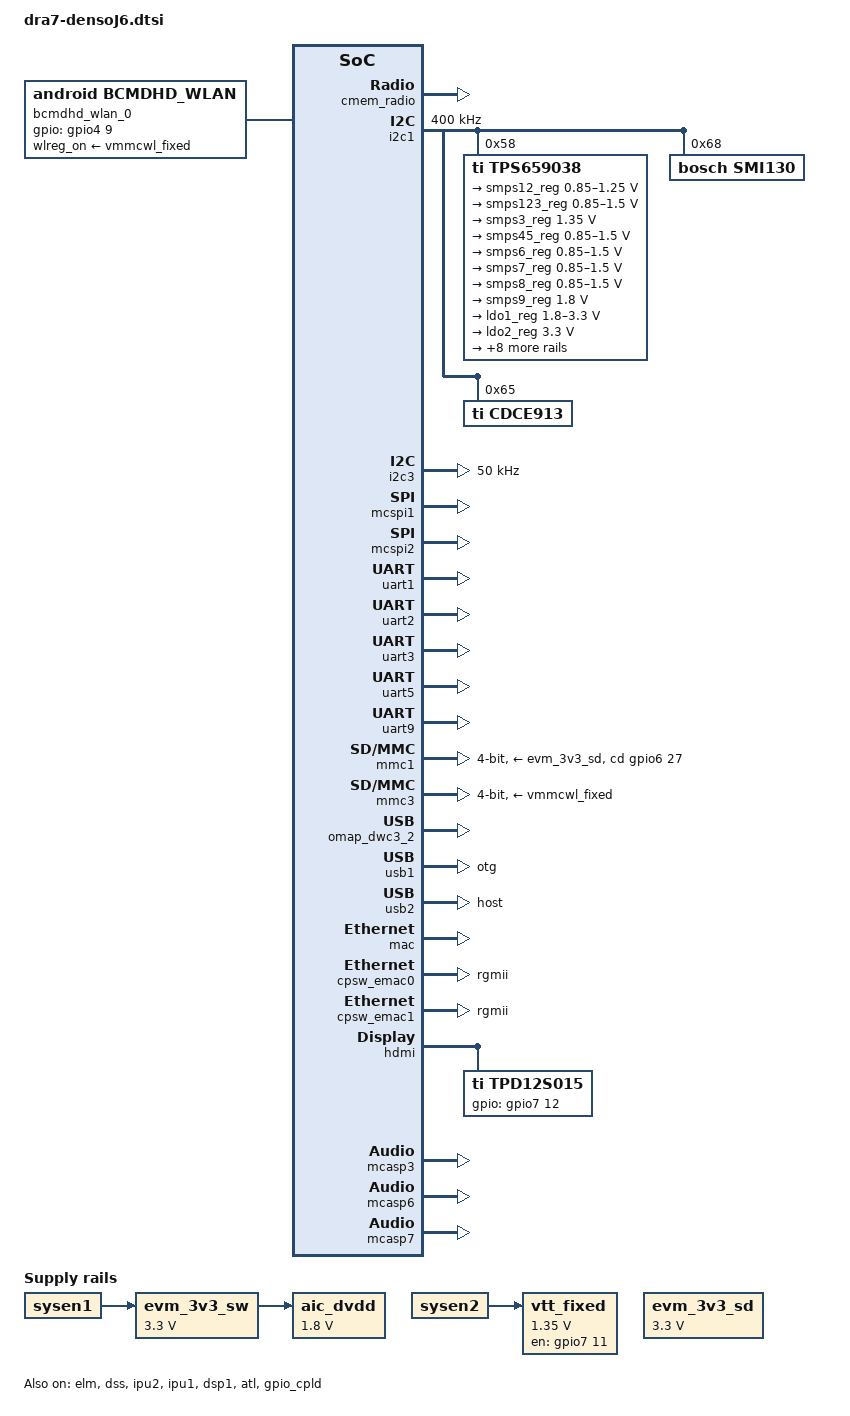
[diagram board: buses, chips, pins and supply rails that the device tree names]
/*
 * Copyright (C) 2013 Texas Instruments Incorporated - http://www.ti.com/
 *
 * This program is free software; you can redistribute it and/or modify
 * it under the terms of the GNU General Public License version 2 as
 * published by the Free Software Foundation.
 */
/ {

	reserved_mem: reserved-memory {
		#address-cells = <2>;
		#size-cells = <2>;
		ranges;

		cmem_radio: cmem@95400000 {
			reg = <0x0 0x95400000 0x0 0x400000>;
			no-map;
			status = "okay";
		};

		ipu2_cma_pool: ipu2_cma@95800000 {
			compatible = "shared-dma-pool";
			reg = <0x0 0x95800000 0x0 0x3800000>;
			reusable;
			status = "okay";
		};

		dsp1_cma_pool: dsp1_cma@99000000 {
			compatible = "shared-dma-pool";
			reg = <0x0 0x99000000 0x0 0x4000000>;
			reusable;
			status = "okay";
		};

		ipu1_cma_pool: ipu1_cma@9d000000 {
			compatible = "shared-dma-pool";
			reg = <0x0 0x9d000000 0x0 0x1c00000>;
			reusable;
			status = "okay";
		};

		ipu1_mmu_pagetable: ipu1_pagetable@9eff8000 {
			reg = <0x0 0x9eff8000 0x0 0x8000>;
			status = "okay";
		};

		pstore_ram_area: pstore_ram@9f000000 {
			reg = <0x0 0x9f000000 0x0 0x100000>;
			status = "okay";
		};
	};

	ramoops {
		memory-region = <&pstore_ram_area>;
		ramoops_record_size  = <0x20000>;
		ramoops_console_size = <0x20000>;
		ramoops_pmsg_size    = <0xc0000>;
	};

	gpio_cpld: denso-cpld-gpio@0c000000 {
		compatible = "denso,densoj6-cpld-gpio";
		reg = <0x0 0x0c000000 0x0 0x4000>;
		host_irq-gpio = <&gpio2 31 0>;
		interrupts = <0 28 0x04>;
		interrupt-parent = <&gpio2>;
		gpio-controller;
		#gpio-cells = <2>;
		interrupt-controller;
		#interrupt-cells = <2>;
		status = "okay";
	};

	config-on-boot {
		output-gpios = <
				&gpio_cpld 14 0	/* power on LVDS */
				&gpio_cpld 10 0	/* backlight on */
				&gpio_cpld 8 0	/* select NTSC video in */
				>;
		output-gpio-values = <
				1		/* 1 power on LVDS */
				1		/* 1 backlight on */
				0		/* 0 select NTSC video in */
				>;
	};

	extcon1: dra7x_usbid_extcon1 {
		compatible = "linux,extcon-usb-dummy";
	};

	evm_3v3_sd: fixedregulator-sd {
		compatible = "regulator-fixed";
		regulator-name = "evm_3v3_sd";
		regulator-min-microvolt = <3300000>;
		regulator-max-microvolt = <3300000>;
		enable-active-high;
	};

	evm_3v3_sw: fixedregulator-evm_3v3_sw {
		compatible = "regulator-fixed";
		regulator-name = "evm_3v3_sw";
		vin-supply = <&sysen1>;
		regulator-min-microvolt = <3300000>;
		regulator-max-microvolt = <3300000>;
	};

	aic_dvdd: fixedregulator-aic_dvdd {
		/* TPS77018DBVT */
		compatible = "regulator-fixed";
		regulator-name = "aic_dvdd";
		vin-supply = <&evm_3v3_sw>;
		regulator-min-microvolt = <1800000>;
		regulator-max-microvolt = <1800000>;
	};

	vtt_fixed: fixedregulator-vtt {
		compatible = "regulator-fixed";
		regulator-name = "vtt_fixed";
		regulator-min-microvolt = <1350000>;
		regulator-max-microvolt = <1350000>;
		regulator-always-on;
		regulator-boot-on;
		enable-active-high;
		vin-supply = <&sysen2>;
		gpio = <&gpio7 11 GPIO_ACTIVE_HIGH>;
	};

	bcmdhd_wlan_0: bcmdhd_wlan@0 {
		compatible = "android,bcmdhd_wlan";
		gpios = <&gpio4 9 0>; /* gpio4_9 - WL_HOST_WAKE */
		wlreg_on-supply = <&vmmcwl_fixed>;
	};

	earlycam_config {
		compatible = "ti,earlycam_mpu";
	};

	ocp {
		gpu: gpu@0x56000000 {
			gpu0-voltdm = <&voltdm_gpu>;
		};
	};

        simple_adv7611_hdmi_card: adv7611_hdmi_card {
                compatible = "simple-audio-card";
                simple-audio-card,name = "ADV7611 HDMI";
                simple-audio-card,frame-master = <&adv7611_codec>;
                simple-audio-card,bitclock-master = <&adv7611_codec>;
                simple-audio-card,format = "i2s";

                simple-audio-card,cpu {
                        sound-dai = <&mcasp6>;
                };

                adv7611_codec: simple-audio-card,codec {
                        codec-dai-name = "adv7611-dai";
                        codec-name = "adv7611-asoc-codec";
                };
        };
};

&dra7_pmx_core {
	pinctrl-names = "default";
	/* NTSC camera pins BASE address: 0x4A00 3400*/
	/* For HDMI receiver adv7611 */
	vin4a_pins: pinmux_vin4a_pins {
		pinctrl-single,pins = <
			0x1D0 0x00040003 /* CTRL_CORE_PAD_VOUT1_FLD    0x4A0035D0 0x3: vin4a_clk0*/
			0x288 0x00040008 /* CTRL_CORE_PAD_GPIO6_14     0x4A003688 0x8: vin4a_hysnc0*/
			0x28C 0x00040008 /* CTRL_CORE_PAD_GPIO6_15     0x4A00368C 0x8: vin4a_vysnc0*/
			0x2A0 0x00040008 /* CTRL_CORE_PAD_XREF_CLK3    0x4A0036A0 0x8: vin4a_de0*/

			0x2AC 0x00040008 /* CTRL_CORE_PAD_MCASP1_ACLKR 0x4A0036AC 0x8: vin4a_d0*/
			0x2B0 0x00040008 /* CTRL_CORE_PAD_MCASP1_FSR   0x4A0036B0 0x8: vin4a_d1*/
			0x2BC 0x00040008 /* CTRL_CORE_PAD_MCASP1_AXR2  0x4A0036BC 0x8: vin4a_d2*/
			0x2C0 0x00040008 /* CTRL_CORE_PAD_MCASP1_AXR3  0x4A0036C0 0x8: vin4a_d3*/
			0x2C4 0x00040008 /* CTRL_CORE_PAD_MCASP1_AXR4  0x4A0036C4 0x8: vin4a_d4*/
			0x2C8 0x00040008 /* CTRL_CORE_PAD_MCASP1_AXR5  0x4A0036C8 0x8: vin4a_d5*/
			0x2CC 0x00040008 /* CTRL_CORE_PAD_MCASP1_AXR6  0x4A0036CC 0x8: vin4a_d6*/
			0x2D0 0x00040008 /* CTRL_CORE_PAD_MCASP1_AXR7  0x4A0036D0 0x8: vin4a_d7*/

			0x2FC 0x00040008 /* CTRL_CORE_PAD_MCASP2_ACLKR 0x4A0036FC 0x8: vin4a_d8*/
			0x300 0x00040008 /* CTRL_CORE_PAD_MCASP2_FSR   0x4A003700 0x8: vin4a_d9*/
			0x304 0x00040008 /* CTRL_CORE_PAD_MCASP2_AXR0  0x4A003704 0x8: vin4a_d10*/
			0x308 0x00040008 /* CTRL_CORE_PAD_MCASP2_AXR1  0x4A003708 0x8: vin4a_d11*/
			0x314 0x00040008 /* CTRL_CORE_PAD_MCASP2_AXR4  0x4A003714 0x8: vin4a_d12*/
			0x318 0x00040008 /* CTRL_CORE_PAD_MCASP2_AXR5  0x4A003718 0x8: vin4a_d13*/
			0x31C 0x00040008 /* CTRL_CORE_PAD_MCASP2_AXR6  0x4A00371C 0x8: vin4a_d14*/
			0x320 0x00040008 /* CTRL_CORE_PAD_MCASP2_AXR7  0x4A003720 0x8: vin4a_d15*/

			0x334 0x00040008 /* CTRL_CORE_PAD_MCASP4_ACLKX 0x4A003734 0x8: vin4a_d16*/
			0x338 0x00040008 /* CTRL_CORE_PAD_MCASP4_FSX   0x4A003738 0x8: vin4a_d17*/
			0x33C 0x00040008 /* CTRL_CORE_PAD_MCASP4_AXR0  0x4A00373C 0x8: vin4a_d18*/
			0x340 0x00040008 /* CTRL_CORE_PAD_MCASP4_AXR1  0x4A003740 0x8: vin4a_d19*/
			0x344 0x00040008 /* CTRL_CORE_PAD_MCASP5_ACLKX 0x4A003744 0x8: vin4a_d20*/
			0x348 0x00040008 /* CTRL_CORE_PAD_MCASP5_FSX   0x4A003748 0x8: vin4a_d21*/
			0x34C 0x00040008 /* CTRL_CORE_PAD_MCASP5_AXR0  0x4A00374C 0x8: vin4a_d22*/
			0x350 0x00040008 /* CTRL_CORE_PAD_MCASP5_AXR1  0x4A003750 0x8: vin4a_d23*/
		>;
	};

	/* NTSC camera pins BASE address: 0x4A00 3400*/
	/* For HDMI receiver adv7611 Audio */
	mcasp6_pins: pinmux_mcasp6_pins {
		pinctrl-single,pins = <
			0x2D8 0x00040001 /* CTRL_CORE_PAD_MCASP1_AXR9    0x4A0036D8 0x1: mcasp6_axr1*/
			0x2DC 0x00040002 /* CTRL_CORE_PAD_MCASP1_AXR10   0x4A0036DC 0x2: mcasp6_aclkr*/
			0x2E0 0x00040002 /* CTRL_CORE_PAD_MCASP1_AXR11   0x4A0036E0 0x2: mcasp6_fsr*/
		>;
	};

	i2c1_pins: pinmux_i2c1_pins {
		pinctrl-single,pins = <
			0x400 (PIN_INPUT | MUX_MODE0) /* i2c1_sda */
			0x404 (PIN_INPUT | MUX_MODE0) /* i2c1_scl */
		>;
	};

	bt_uart3_pins: pinmux_uart3_pins {
		pinctrl-single,pins = <
			0x3c0 (PIN_INPUT_PULLUP | MUX_MODE1)	/* spi2_sclk.uart3_rxd */
			0x3c4 (PIN_OUTPUT | MUX_MODE1)	/* spi2_d1.uart3_txd */
			0x3c8 (PIN_INPUT_PULLUP | MUX_MODE1)		/* spi2.d0.uart3_ctsn */
			0x3cc (PIN_OUTPUT | MUX_MODE1)	/* spi2_cs0.uart3_rtsn */
			0x184 (PIN_OUTPUT_PULLUP | MUX_MODE14) 	/* vin2a_d7.gpio4_8 - PWR_ON_BT_Wifi */
		>;
	};

	usb1_pins: pinmux_usb1_pins {
                pinctrl-single,pins = <
			0x280 (PIN_INPUT_SLEW | MUX_MODE0) /* usb1_drvvbus */
                >;
        };

	/*usb2_pins: pinmux_usb2_pins {
                pinctrl-single,pins = <
			0x284 (PIN_OUTPUT_PULLUP | MUX_MODE14) // usb2_drvvbus
                >;
        };
	*/

	cpsw_default: cpsw_default {
		pinctrl-single,pins = <
			/* Slave 2 */
			0x198 (PIN_OUTPUT | MUX_MODE3)	/* rgmii2_tclk */
			0x19c (PIN_OUTPUT | MUX_MODE3)	/* rgmii2_tctl */
			0x1a0 (PIN_OUTPUT | MUX_MODE3)	/* rgmii2_td3 */
			0x1a4 (PIN_OUTPUT | MUX_MODE3)	/* rgmii2_td2 */
			0x1a8 (PIN_OUTPUT | MUX_MODE3)	/* rgmii2_td1 */
			0x1ac (PIN_OUTPUT | MUX_MODE3)	/* rgmii2_td0 */
			0x1b0 (PIN_INPUT | MUX_MODE3)	/* rgmii2_rclk */
			0x1b4 (PIN_INPUT | MUX_MODE3)	/* rgmii2_rctl */
			0x1b8 (PIN_INPUT | MUX_MODE3)	/* rgmii2_rd3 */
			0x1bc (PIN_INPUT | MUX_MODE3)	/* rgmii2_rd2 */
			0x1c0 (PIN_INPUT | MUX_MODE3)	/* rgmii2_rd1 */
			0x1c4 (PIN_INPUT | MUX_MODE3)	/* rgmii2_rd0 */
		>;

	};

	cpsw_sleep: cpsw_sleep {
		pinctrl-single,pins = <
			/* Slave 2 */
			0x198 (PIN_OFF_NONE)
			0x19c (PIN_OFF_NONE)
			0x1a0 (PIN_OFF_NONE)
			0x1a4 (PIN_OFF_NONE)
			0x1a8 (PIN_OFF_NONE)
			0x1ac (PIN_OFF_NONE)
			0x1b0 (PIN_OFF_NONE)
			0x1b4 (PIN_OFF_NONE)
			0x1b8 (PIN_OFF_NONE)
			0x1bc (PIN_OFF_NONE)
			0x1c0 (PIN_OFF_NONE)
			0x1c4 (PIN_OFF_NONE)
		>;
	};

	davinci_mdio_default: davinci_mdio_default {
		pinctrl-single,pins = <
			/* MDIO */
			0x190 (PIN_OUTPUT_PULLUP | MUX_MODE3)	/* mdio_data */
			0x194 (PIN_INPUT | MUX_MODE3)	/* mdio_clk */
		>;
	};

	davinci_mdio_sleep: davinci_mdio_sleep {
		pinctrl-single,pins = <
			0x190 (PIN_OFF_NONE)
			0x194 (PIN_OFF_NONE)
		>;
	};

	mcspi1_pins: pinmux_mcspi1_pins {
		pinctrl-single,pins = <
			0x3a4 (PIN_INPUT | MUX_MODE0) /* spi1_sclk */
			0x3a8 (PIN_INPUT | MUX_MODE0) /* spi1_d1 */
			0x3ac (PIN_INPUT | MUX_MODE0) /* spi1_d0 */
			0x3b0 (PIN_INPUT_SLEW | MUX_MODE0) /* spi1_cs0 */
			0x3b8 (INPUT_EN | PULL_UP | PULL_DIS | MUX_MODE14) /* spi1_cs2.hdmi1_hpd */
			0x3bc (INPUT_EN | PULL_UP | PULL_DIS | MUX_MODE14) /* spi1_cs3.hdmi1_cec */
		>;
	};

	vout1_pins: pinmux_vout1_pins {
		pinctrl-single,pins = <
			0x1C8	(PIN_OUTPUT | MUX_MODE0)	/* vout1_clk */
			0x1CC	(PIN_OUTPUT | MUX_MODE0)	/* vout1_de */
			/*0x1D0	(PIN_OUTPUT | MUX_MODE0)*/	/* vout1_fld */
			0x1D4	(PIN_OUTPUT | MUX_MODE0)	/* vout1_hsync */
			0x1D8	(PIN_OUTPUT | MUX_MODE0)	/* vout1_vsync */
			0x1DC	(PIN_OUTPUT | MUX_MODE0)	/* vout1_d0 */
			0x1E0	(PIN_OUTPUT | MUX_MODE0)	/* vout1_d1 */
			0x1E4	(PIN_OUTPUT | MUX_MODE0)	/* vout1_d2 */
			0x1E8	(PIN_OUTPUT | MUX_MODE0)	/* vout1_d3 */
			0x1EC	(PIN_OUTPUT | MUX_MODE0)	/* vout1_d4 */
			0x1F0	(PIN_OUTPUT | MUX_MODE0)	/* vout1_d5 */
			0x1F4	(PIN_OUTPUT | MUX_MODE0)	/* vout1_d6 */
			0x1F8	(PIN_OUTPUT | MUX_MODE0)	/* vout1_d7 */
			0x1FC	(PIN_OUTPUT | MUX_MODE0)	/* vout1_d8 */
			0x200	(PIN_OUTPUT | MUX_MODE0)	/* vout1_d9 */
			0x204	(PIN_OUTPUT | MUX_MODE0)	/* vout1_d10 */
			0x208	(PIN_OUTPUT | MUX_MODE0)	/* vout1_d11 */
			0x20C	(PIN_OUTPUT | MUX_MODE0)	/* vout1_d12 */
			0x210	(PIN_OUTPUT | MUX_MODE0)	/* vout1_d13 */
			0x214	(PIN_OUTPUT | MUX_MODE0)	/* vout1_d14 */
			0x218	(PIN_OUTPUT | MUX_MODE0)	/* vout1_d15 */
			0x21C	(PIN_OUTPUT | MUX_MODE0)	/* vout1_d16 */
			0x220	(PIN_OUTPUT | MUX_MODE0)	/* vout1_d17 */
			0x224	(PIN_OUTPUT | MUX_MODE0)	/* vout1_d18 */
			0x228	(PIN_OUTPUT | MUX_MODE0)	/* vout1_d19 */
			0x22C	(PIN_OUTPUT | MUX_MODE0)	/* vout1_d20 */
			0x230	(PIN_OUTPUT | MUX_MODE0)	/* vout1_d21 */
			0x234	(PIN_OUTPUT | MUX_MODE0)	/* vout1_d22 */
			0x238	(PIN_OUTPUT | MUX_MODE0)	/* vout1_d23 */
		>;
	};

	atl_pins: pinmux_atl_pins {
		pinctrl-single,pins = <
			0x29c (PIN_OUTPUT | MUX_MODE5)	/* xref_clk2.atl_clk2 */
		>;
	};

	tsc_pins: pinmux_tsc_pins {
		pinctrl-single,pins = <
			0x420 (PIN_INPUT_PULLDOWN | MUX_MODE14) /* gpio1_2 */
		>;
	};

	mmc1_pins_default: pinmux_mmc1_default_pins {
		pinctrl-single,pins = <
			0x354 (PIN_INPUT_PULLUP | MUX_MODE0)    /* mmc1_clk.clk */
			0x358 (PIN_INPUT_PULLUP | MUX_MODE0)    /* mmc1_cmd.cmd */
			0x35c (PIN_INPUT_PULLUP | MUX_MODE0)    /* mmc1_dat0.dat0 */
			0x360 (PIN_INPUT_PULLUP | MUX_MODE0)    /* mmc1_dat1.dat1 */
			0x364 (PIN_INPUT_PULLUP | MUX_MODE0)    /* mmc1_dat2.dat2 */
			0x368 (PIN_INPUT_PULLUP | MUX_MODE0)    /* mmc1_dat3.dat3 */
			0x36c (PIN_INPUT | MUX_MODE14)          /* mmc1sdcd.gpio187 */
		>;
	};

	mmc1_pins_hs: pinmux_mmc1_hs_pins {
		pinctrl-single,pins = <
			0x354 (PIN_INPUT_PULLUP | MUX_VIRTUAL_MODE11 | MUX_MODE0)       /* mmc1_clk.clk */
			0x358 (PIN_INPUT_PULLUP | MUX_VIRTUAL_MODE11 | MUX_MODE0)       /* mmc1_cmd.cmd */
			0x35c (PIN_INPUT_PULLUP | MUX_VIRTUAL_MODE11 | MUX_MODE0)       /* mmc1_dat0.dat0 */
			0x360 (PIN_INPUT_PULLUP | MUX_VIRTUAL_MODE11 | MUX_MODE0)       /* mmc1_dat1.dat1 */
			0x364 (PIN_INPUT_PULLUP | MUX_VIRTUAL_MODE11 | MUX_MODE0)       /* mmc1_dat2.dat2 */
			0x368 (PIN_INPUT_PULLUP | MUX_VIRTUAL_MODE11 | MUX_MODE0)       /* mmc1_dat3.dat3 */
		>;
	};

	mmc2_pins_default: mmc2_pins_default {
		pinctrl-single,pins = <
			0x9c (PIN_INPUT_PULLUP | MUX_MODE1) /* gpmc_a23.mmc2_clk */
			0xb0 (PIN_INPUT_PULLUP | MUX_MODE1) /* gpmc_cs1.mmc2_cmd */
			0xa0 (PIN_INPUT_PULLUP | MUX_MODE1) /* gpmc_a24.mmc2_dat0 */
			0xa4 (PIN_INPUT_PULLUP | MUX_MODE1) /* gpmc_a25.mmc2_dat1 */
			0xa8 (PIN_INPUT_PULLUP | MUX_MODE1) /* gpmc_a26.mmc2_dat2 */
			0xac (PIN_INPUT_PULLUP | MUX_MODE1) /* gpmc_a27.mmc2_dat3 */
			0x8c (PIN_INPUT_PULLUP | MUX_MODE1) /* gpmc_a19.mmc2_dat4 */
			0x90 (PIN_INPUT_PULLUP | MUX_MODE1) /* gpmc_a20.mmc2_dat5 */
			0x94 (PIN_INPUT_PULLUP | MUX_MODE1) /* gpmc_a21.mmc2_dat6 */
			0x98 (PIN_INPUT_PULLUP | MUX_MODE1) /* gpmc_a22.mmc2_dat7 */
		>;
	};

	mmc2_pins_hs: pinmux_mmc2_hs_pins {
		pinctrl-single,pins = <
			0x9c (PIN_INPUT_PULLUP | MUX_MODE1) /* gpmc_a23.mmc2_clk */
			0xb0 (PIN_INPUT_PULLUP | MUX_MODE1) /* gpmc_cs1.mmc2_cmd */
			0xa0 (PIN_INPUT_PULLUP | MUX_MODE1) /* gpmc_a24.mmc2_dat0 */
			0xa4 (PIN_INPUT_PULLUP | MUX_MODE1) /* gpmc_a25.mmc2_dat1 */
			0xa8 (PIN_INPUT_PULLUP | MUX_MODE1) /* gpmc_a26.mmc2_dat2 */
			0xac (PIN_INPUT_PULLUP | MUX_MODE1) /* gpmc_a27.mmc2_dat3 */
			0x8c (PIN_INPUT_PULLUP | MUX_MODE1) /* gpmc_a19.mmc2_dat4 */
			0x90 (PIN_INPUT_PULLUP | MUX_MODE1) /* gpmc_a20.mmc2_dat5 */
			0x94 (PIN_INPUT_PULLUP | MUX_MODE1) /* gpmc_a21.mmc2_dat6 */
			0x98 (PIN_INPUT_PULLUP | MUX_MODE1) /* gpmc_a22.mmc2_dat7 */
		>;
	};

	mmc2_pins_hs200: pinmux_mmc2_hs200_pins {
               pinctrl-single,pins = <
                       0x9c (PIN_INPUT_PULLUP | MANUAL_MODE | MUX_MODE1) /* gpmc_a23.mmc2_clk */
                       0xb0 (PIN_INPUT_PULLUP | MANUAL_MODE | MUX_MODE1) /* gpmc_cs1.mmc2_cmd */
                       0xa0 (PIN_INPUT_PULLUP | MANUAL_MODE | MUX_MODE1) /* gpmc_a24.mmc2_dat0 */
                       0xa4 (PIN_INPUT_PULLUP | MANUAL_MODE | MUX_MODE1) /* gpmc_a25.mmc2_dat1 */
                       0xa8 (PIN_INPUT_PULLUP | MANUAL_MODE | MUX_MODE1) /* gpmc_a26.mmc2_dat2 */
                       0xac (PIN_INPUT_PULLUP | MANUAL_MODE | MUX_MODE1) /* gpmc_a27.mmc2_dat3 */
                       0x8c (PIN_INPUT_PULLUP | MANUAL_MODE | MUX_MODE1) /* gpmc_a19.mmc2_dat4 */
                       0x90 (PIN_INPUT_PULLUP | MANUAL_MODE | MUX_MODE1) /* gpmc_a20.mmc2_dat5 */
                       0x94 (PIN_INPUT_PULLUP | MANUAL_MODE | MUX_MODE1) /* gpmc_a21.mmc2_dat6 */
                       0x98 (PIN_INPUT_PULLUP | MANUAL_MODE | MUX_MODE1) /* gpmc_a22.mmc2_dat7 */
               >;
       };

       /* Murata -- add MUXing for MMC3 */
       mmc3_pins_default: pinmux_mmc3_default_pins {
               pinctrl-single,pins = <
                       0x37C (PIN_INPUT_PULLUP | MUX_MODE0)    /* mmc3_clk.clk */
                       0x380 (PIN_INPUT_PULLUP | MUX_MODE0)    /* mmc3_cmd.cmd */
                       0x384 (PIN_INPUT_PULLUP | MUX_MODE0)    /* mmc3_dat0.dat0 */
                       0x388 (PIN_INPUT_PULLUP | MUX_MODE0)    /* mmc3_dat1.dat1 */
                       0x38C (PIN_INPUT_PULLUP | MUX_MODE0)    /* mmc3_dat2.dat2 */
                       0x390 (PIN_INPUT_PULLUP | MUX_MODE0)    /* mmc3_dat3.dat3 */
                       0x188 (PIN_INPUT_PULLUP | MUX_MODE14)   /* gpio4_9 - WIFI_SD_IRQn */
               >;
       };
       mmc3_pins_hs: pinmux_mmc3_hs_pins {
               pinctrl-single,pins = <
                       0x37C (PIN_INPUT_PULLUP | MUX_MODE0)    /* mmc3_clk.clk */
                       0x380 (PIN_INPUT_PULLUP | MUX_MODE0)    /* mmc3_cmd.cmd */
                       0x384 (PIN_INPUT_PULLUP | MUX_MODE0)    /* mmc3_dat0.dat0 */
                       0x388 (PIN_INPUT_PULLUP | MUX_MODE0)    /* mmc3_dat1.dat1 */
                       0x38C (PIN_INPUT_PULLUP | MUX_MODE0)    /* mmc3_dat2.dat2 */
                       0x390 (PIN_INPUT_PULLUP | MUX_MODE0)    /* mmc3_dat3.dat3 */
                       0x188 (PIN_INPUT_PULLUP | MUX_MODE14)   /* gpio4_9 - WIFI_SD_IRQn */
               >;
       };

       mmc3_pins_sdr50: pinmux_mmc3_sdr50_pins {
               pinctrl-single,pins = <
                       0x37C (PIN_INPUT_PULLUP | MUX_MODE0)    /* mmc3_clk.clk */
                       0x380 (PIN_INPUT_PULLUP | MUX_MODE0)    /* mmc3_cmd.cmd */
                       0x384 (PIN_INPUT_PULLUP | MUX_MODE0)    /* mmc3_dat0.dat0 */
                       0x388 (PIN_INPUT_PULLUP | MUX_MODE0)    /* mmc3_dat1.dat1 */
                       0x38C (PIN_INPUT_PULLUP | MUX_MODE0)    /* mmc3_dat2.dat2 */
                       0x390 (PIN_INPUT_PULLUP | MUX_MODE0)    /* mmc3_dat3.dat3 */
                       0x188 (PIN_INPUT_PULLUP | MUX_MODE14)   /* gpio4_9 - WIFI_SD_IRQn */
               >;
       };

       mmc3_pins_ddr50: pinmux_mmc3_ddr50_pins {
               pinctrl-single,pins = <
                       0x37C (PIN_INPUT_PULLUP | MUX_MODE0)    /* mmc3_clk.clk */
                       0x380 (PIN_INPUT_PULLUP | MUX_MODE0)    /* mmc3_cmd.cmd */
                       0x384 (PIN_INPUT_PULLUP | MUX_MODE0)    /* mmc3_dat0.dat0 */
                       0x388 (PIN_INPUT_PULLUP | MUX_MODE0)    /* mmc3_dat1.dat1 */
                       0x38C (PIN_INPUT_PULLUP | MUX_MODE0)    /* mmc3_dat2.dat2 */
                       0x390 (PIN_INPUT_PULLUP | MUX_MODE0)    /* mmc3_dat3.dat3 */
               >;
       };

};

/*
 * Refer to TI's SPRS950A data sheet, "DRA75x, DRA74x Infotainment
 * Applications Processor Silicon Revision 2.0", Chapter 7 "Timing
 * Requirements and Switching Characteristics" for the iodelay parameters.
 * This can be downloaded from
 *   http://www.ti.com/lit/gpn/DRA752
 *
 * The online version is here
 *   http://www.ti.com/product/DRA752/datasheet/timing_requirements_and_switching_characteristics
 */
&dra7_iodelay_core {
	/*
	 * See Table 7-123 in SPRS950A, or Table 5-123 "Manual Functions
	 * Mapping for MMC2 With Internal Loopback Clock for HS200"
	 * http://www.ti.com/product/DRA746/datasheet/timing_requirements_and_switching_characteristics#manual_mode_MMC2_HS
	 *
	 * The MMC2 HS200 iodelay values are the same for all DRA74x and
	 * DRA75x ES2.0 silicon revision.
	 */
	mmc2_iodelay_hs200_conf: mmc2_iodelay_hs200_conf {
		pinctrl-single,pins = <
			0x190 (A_DELAY(274) | G_DELAY(0))	/* CFG_GPMC_A19_OEN */
			0x194 (A_DELAY(162) | G_DELAY(0))	/* CFG_GPMC_A19_OUT */
			0x1a8 (A_DELAY(401) | G_DELAY(0))	/* CFG_GPMC_A20_OEN */
			0x1ac (A_DELAY(73) | G_DELAY(0))	/* CFG_GPMC_A20_OUT */
			0x1b4 (A_DELAY(465) | G_DELAY(0))	/* CFG_GPMC_A21_OEN */
			0x1b8 (A_DELAY(115) | G_DELAY(0))	/* CFG_GPMC_A21_OUT */
			0x1c0 (A_DELAY(633) | G_DELAY(0))	/* CFG_GPMC_A22_OEN */
			0x1c4 (A_DELAY(47) | G_DELAY(0))	/* CFG_GPMC_A22_OUT */
			0x1d0 (A_DELAY(935) | G_DELAY(280))	/* CFG_GPMC_A23_OUT */
			0x1d8 (A_DELAY(621) | G_DELAY(0))	/* CFG_GPMC_A24_OEN */
			0x1dc (A_DELAY(0) | G_DELAY(0))		/* CFG_GPMC_A24_OUT */
			0x1e4 (A_DELAY(183) | G_DELAY(0))	/* CFG_GPMC_A25_OEN */
			0x1e8 (A_DELAY(0) | G_DELAY(0))		/* CFG_GPMC_A25_OUT */
			0x1f0 (A_DELAY(467) | G_DELAY(0))	/* CFG_GPMC_A26_OEN */
			0x1f4 (A_DELAY(0) | G_DELAY(0))		/* CFG_GPMC_A26_OUT */
			0x1fc (A_DELAY(262) | G_DELAY(0))	/* CFG_GPMC_A27_OEN */
			0x200 (A_DELAY(46) | G_DELAY(0))	/* CFG_GPMC_A27_OUT */
			0x364 (A_DELAY(684) | G_DELAY(0))	/* CFG_GPMC_CS1_OEN */
			0x368 (A_DELAY(76) | G_DELAY(0))	/* CFG_GPMC_CS1_OUT */
		>;
	};
	/*
	 *THRA-18994 Change THRA DPI default timing to Alternate Timings
	 *programming each of the VOUT1 pad configuration registers according
	 *to “Table 7-19. Manual Functions Mappig for DSS VOUT1"
	 *in DRA75x_74x_SR2.0_DM_vB p230
	 */
	dss_vout1_manual1_conf: dss_vout1_manual1_conf {
		pinctrl-single,pins = <
			0xB9C (A_DELAY(0)  | G_DELAY(706))	/* CFG_VOUT1_CLK_OUT */
			0xBA8 (A_DELAY(2313) | G_DELAY(0))	/* CFG_VOUT1_D0_OUT */
			0xC2C (A_DELAY(2439) | G_DELAY(0))	/* CFG_VOUT1_D1_OUT */
			0xBB4 (A_DELAY(2199) | G_DELAY(0))	/* CFG_VOUT1_D10_OUT */
			0xBC0 (A_DELAY(2266) | G_DELAY(0))	/* CFG_VOUT1_D11_OUT */
			0xBCC (A_DELAY(3159) | G_DELAY(0))	/* CFG_VOUT1_D12_OUT */
			0xBD8 (A_DELAY(2100) | G_DELAY(0))	/* CFG_VOUT1_D13_OUT */
			0xBE4 (A_DELAY(2229) | G_DELAY(0))	/* CFG_VOUT1_D14_OUT */
			0xBF0 (A_DELAY(2202) | G_DELAY(0))	/* CFG_VOUT1_D15_OUT */
			0xBFC (A_DELAY(2084) | G_DELAY(0))	/* CFG_VOUT1_D16_OUT */
			0xC08 (A_DELAY(2195) | G_DELAY(0))	/* CFG_VOUT1_D17_OUT */
			0xC14 (A_DELAY(2342) | G_DELAY(0))	/* CFG_VOUT1_D18_OUT */
			0xC20 (A_DELAY(2463) | G_DELAY(0))	/* CFG_VOUT1_D19_OUT */
			0xC68 (A_DELAY(2200) | G_DELAY(0))	/* CFG_VOUT1_D2_OUT */
			0xC38 (A_DELAY(2304) | G_DELAY(0))	/* CFG_VOUT1_D20_OUT */
			0xC44 (A_DELAY(2103) | G_DELAY(0))	/* CFG_VOUT1_D21_OUT */
			0xC50 (A_DELAY(2145) | G_DELAY(0))	/* CFG_VOUT1_D22_OUT */
			0xC5C (A_DELAY(1932) | G_DELAY(0))	/* CFG_VOUT1_D23_OUT */
			0xC74 (A_DELAY(2355) | G_DELAY(0))	/* CFG_VOUT1_D3_OUT */
			0xC80 (A_DELAY(3215) | G_DELAY(0))	/* CFG_VOUT1_D4_OUT */
			0xC8C (A_DELAY(2314) | G_DELAY(0))	/* CFG_VOUT1_D5_OUT */
			0xC98 (A_DELAY(2238) | G_DELAY(0))	/* CFG_VOUT1_D6_OUT */
			0xCA4 (A_DELAY(2381) | G_DELAY(0))	/* CFG_VOUT1_D7_OUT */
			0xCB0 (A_DELAY(2138) | G_DELAY(0))	/* CFG_VOUT1_D8_OUT */
			0xCBC (A_DELAY(2383) | G_DELAY(0))	/* CFG_VOUT1_D9_OUT */
			0xCC8 (A_DELAY(1984) | G_DELAY(0))	/* CFG_VOUT1_DE_OUT */
			/*0xCD4 (A_DELAY(2265) | G_DELAY(0))*/	/*CFG_VOUT1_FLD_OUT used as ADV7611_LLC*/
			0xCE0 (A_DELAY(1947) | G_DELAY(0))	/* CFG_VOUT1_HSYNC_OUT */
			0xCEC (A_DELAY(2739) | G_DELAY(0))	/* CFG_VOUT1_VSYNC_OUT */
		>;
	};
	dss_vout1_manual2_conf: dss_vout1_manual2_conf {
		pinctrl-single,pins = <
                        0xB9C (A_DELAY(1126)  | G_DELAY(751))   /* CFG_VOUT1_CLK_OUT */
                        0xBA8 (A_DELAY(395)   | G_DELAY(0))     /* CFG_VOUT1_D0_OUT */
                        0xC2C (A_DELAY(521)   | G_DELAY(0))     /* CFG_VOUT1_D1_OUT */
                        0xBB4 (A_DELAY(282)   | G_DELAY(0))     /* CFG_VOUT1_D10_OUT */
                        0xBC0 (A_DELAY(348)   | G_DELAY(0))     /* CFG_VOUT1_D11_OUT */
                        0xBCC (A_DELAY(1240)  | G_DELAY(0))     /* CFG_VOUT1_D12_OUT */
                        0xBD8 (A_DELAY(182)   | G_DELAY(0))     /* CFG_VOUT1_D13_OUT */
                        0xBE4 (A_DELAY(311)   | G_DELAY(0))     /* CFG_VOUT1_D14_OUT */
                        0xBF0 (A_DELAY(285)   | G_DELAY(0))     /* CFG_VOUT1_D15_OUT */
                        0xBFC (A_DELAY(166)   | G_DELAY(0))     /* CFG_VOUT1_D16_OUT */
                        0xC08 (A_DELAY(278)   | G_DELAY(0))     /* CFG_VOUT1_D17_OUT */
                        0xC14 (A_DELAY(425)   | G_DELAY(0))     /* CFG_VOUT1_D18_OUT */
                        0xC20 (A_DELAY(516)   | G_DELAY(0))     /* CFG_VOUT1_D19_OUT */
                        0xC68 (A_DELAY(282)   | G_DELAY(0))     /* CFG_VOUT1_D2_OUT */
                        0xC38 (A_DELAY(386)   | G_DELAY(0))     /* CFG_VOUT1_D20_OUT */
                        0xC44 (A_DELAY(111)   | G_DELAY(0))     /* CFG_VOUT1_D21_OUT */
                        0xC50 (A_DELAY(227)   | G_DELAY(0))     /* CFG_VOUT1_D22_OUT */
                        0xC5C (A_DELAY(0)     | G_DELAY(0))     /* CFG_VOUT1_D23_OUT */
                        0xC74 (A_DELAY(438)   | G_DELAY(0))     /* CFG_VOUT1_D3_OUT */
                        0xC80 (A_DELAY(1298)  | G_DELAY(0))     /* CFG_VOUT1_D4_OUT */
                        0xC8C (A_DELAY(397)   | G_DELAY(0))     /* CFG_VOUT1_D5_OUT */
                        0xC98 (A_DELAY(321)   | G_DELAY(0))     /* CFG_VOUT1_D6_OUT */
                        0xCA4 (A_DELAY(155)   | G_DELAY(309))   /* CFG_VOUT1_D7_OUT */
                        0xCB0 (A_DELAY(212)   | G_DELAY(0))     /* CFG_VOUT1_D8_OUT */
                        0xCBC (A_DELAY(466)   | G_DELAY(0))     /* CFG_VOUT1_D9_OUT */
                        0xCC8 (A_DELAY(0)     | G_DELAY(0))     /* CFG_VOUT1_DE_OUT */
                        /*0xCD4 (A_DELAY(236) | G_DELAY(0))*/   /*CFG_VOUT1_FLD_OUT used as ADV7611_LLC*/
                        0xCE0 (A_DELAY(0)     | G_DELAY(0))     /* CFG_VOUT1_HSYNC_OUT */
                        0xCEC (A_DELAY(139)   | G_DELAY(701))   /* CFG_VOUT1_VSYNC_OUT */
		>;
	};
};

&i2c1 {
	status = "okay";
	clock-frequency = <400000>;

	tps659038: tps659038@58 {
		compatible = "ti,tps659038";
		reg = <0x58>;

		tps659038_pmic {
			compatible = "ti,tps659038-pmic";

			regulators {
				smps12_reg: smps12 {
					/* VDD_MPU */
					regulator-name = "smps12";
					regulator-min-microvolt = < 850000>;
					regulator-max-microvolt = <1250000>;
					regulator-always-on;
					regulator-boot-on;
				};

				smps123_reg: smps123 {
					/* VDD_MPU */
					regulator-name = "smps123";
					regulator-min-microvolt = < 850000>;
					regulator-max-microvolt = <1500000>;
					regulator-always-on;
					regulator-boot-on;
				};

				smps3_reg: smps3 {
					/* VDD_MPU */
					regulator-name = "smps3";
					regulator-min-microvolt = <1350000>;
					regulator-max-microvolt = <1350000>;
					regulator-always-on;
					regulator-boot-on;
				};

				smps45_reg: smps45 {
					/* VDD_DSPEVE */
					regulator-name = "smps45";
					regulator-min-microvolt = < 850000>;
					regulator-max-microvolt = <1500000>;
					regulator-boot-on;
					regulator-always-on;
				};

				smps6_reg: smps6 {
					/* VDD_GPU - over VDD_SMPS6 */
					regulator-name = "smps6";
					regulator-min-microvolt = <850000>;
					regulator-max-microvolt = <1500000>;
					regulator-boot-on;
					regulator-always-on;
				};

				smps7_reg: smps7 {
					/* CORE_VDD */
					regulator-name = "smps7";
					regulator-min-microvolt = <850000>;
					regulator-max-microvolt = <1500000>;
					regulator-always-on;
					regulator-boot-on;
				};

				smps8_reg: smps8 {
					/* VDD_IVAHD */
					regulator-name = "smps8";
					regulator-min-microvolt = < 850000>;
					regulator-max-microvolt = <1500000>;
					regulator-boot-on;
					regulator-always-on;
				};

				smps9_reg: smps9 {
					/* VDDS1V8 */
					regulator-name = "smps9";
					regulator-min-microvolt = <1800000>;
					regulator-max-microvolt = <1800000>;
					regulator-always-on;
					regulator-boot-on;
				};

				ldo1_reg: ldo1 {
					/* LDO1_OUT --> SDIO  */
					regulator-name = "ldo1";
					regulator-min-microvolt = <1800000>;
					regulator-max-microvolt = <3300000>;
					regulator-boot-on;
					regulator-always-on;
				};

				ldo2_reg: ldo2 {
					/* VDD_RTCIO */
					/* LDO2 -> VDDSHV5, LDO2 also goes to CAN_PHY_3V3 */
					regulator-name = "ldo2";
					regulator-min-microvolt = <3300000>;
					regulator-max-microvolt = <3300000>;
					regulator-boot-on;
					regulator-always-on;
				};

				ldo3_reg: ldo3 {
					/* VDDA_1V8_PHY */
					regulator-name = "ldo3";
					regulator-min-microvolt = <1800000>;
					regulator-max-microvolt = <1800000>;
					regulator-always-on;
					regulator-boot-on;
				};

				ldo9_reg: ldo9 {
					/* VDD_RTC */
					regulator-name = "ldo9";
					regulator-min-microvolt = <1050000>;
					regulator-max-microvolt = <1050000>;
					regulator-boot-on;
					regulator-always-on;
				};

				ldoln_reg: ldoln {
					/* VDDA_1V8_PLL */
					regulator-name = "ldoln";
					regulator-min-microvolt = <1800000>;
					regulator-max-microvolt = <1800000>;
					regulator-always-on;
					regulator-boot-on;
				};

				ldousb_reg: ldousb {
					/* VDDA_3V_USB: VDDA_USBHS33 */
					regulator-name = "ldousb";
					regulator-min-microvolt = <3300000>;
					regulator-max-microvolt = <3300000>;
					regulator-boot-on;
					regulator-always-on;
				};

				regen1: regen1 {
					/* Needed for PMIC internal resources */
					regulator-name = "regen1";
					regulator-boot-on;
					regulator-always-on;
				};

				regen2: regen2 {
					/* Needed for PMIC internal resources */
					regulator-name = "regen2";
					regulator-boot-on;
					regulator-always-on;
				};

				/* REGEN3 is unused */

				sysen1: sysen1 {
					/* PMIC_REGEN_3V3 */
					regulator-name = "sysen1";
					regulator-boot-on;
					regulator-always-on;
				};

				sysen2: sysen2 {
					/* PMIC_REGEN_DDR */
					regulator-name = "sysen2";
					regulator-boot-on;
					regulator-always-on;
				};
			};
		};
	};

	smi130: smi130@68 {
		compatible = "bosch,smi130";
		reg = <0x68>;
		gpio_int = <23>;
		wdt_en;
	};

	cdce913: cdce913@65 {
		compatible = "ti,cdce913";
		reg =<0x65>;
		status = "okay";
	};
};

&i2c3 {
	status = "okay";
	clock-frequency = <50000>;
};

&mcspi1 {
	pinctrl-names = "default";
	pinctrl-0 = <&mcspi1_pins>;
	status = "okay";
};

&mcspi2 {
	status = "okay";
};

&uart1 {
	status = "okay";
	interrupts-extended = <&gic GIC_SPI 67 IRQ_TYPE_LEVEL_HIGH
			       &dra7_pmx_core 0x3e0>;
};

&uart2 {
	status = "okay";
};

&uart3 {
	status = "okay";
	pinctrl-names = "default";
	pinctrl-0 = <&bt_uart3_pins>;
};

&uart5 {
	status = "okay";
};

&uart9 {
	status = "okay";
};

&mmc1 {
	status = "okay";
	pbias-supply = <&pbias_mmc_reg>;
	vmmc-supply = <&evm_3v3_sd>;
	vmmc_aux-supply = <&ldo1_reg>;
	bus-width = <4>;
	/*
	 * SDCD signal is not being used here - using the fact that GPIO mode
	 * is always hardwired.
	 */
	cd-gpios = <&gpio6 27 0>;
	pinctrl-names = "default", "hs";
	pinctrl-0 = <&mmc1_pins_default>;
	pinctrl-1 = <&mmc1_pins_hs>;
};

&mmc3 {
	status = "okay";
	vmmc-supply = <&vmmcwl_fixed>;
	bus-width = <4>;
	cap-power-off-card;
        keep-power-in-suspend;
        ti,non-removable;
        pinctrl-names = "default", "hs", "sdr50", "ddr50";
        pinctrl-0 = <&mmc3_pins_default>;
        pinctrl-1 = <&mmc3_pins_hs>;
        pinctrl-2 = <&mmc3_pins_sdr50>;
        pinctrl-3 = <&mmc3_pins_ddr50>;
    /*  sd-uhs-ddr50; mmc3 not supporting ddr */
	sd-uhs-sdr50;
};

&mmc4 {
	bus-width = <8>;
	ti,non-removable;
	status = "disabled";
};

&cpu0 {
	cpu0-voltdm = <&voltdm_mpu>;
	voltage-tolerance = <1>;
};

&voltdm_dspeve {
	vdd-supply = <&smps45_reg>;
};

&voltdm_gpu {
	vdd-supply = <&smps6_reg>;
};

&voltdm_ivahd {
	vdd-supply = <&smps8_reg>;
};

&voltdm_core {
	vdd-supply = <&smps7_reg>;
};

&omap_dwc3_1 {
	extcon = <&extcon1>;
};

&omap_dwc3_2 {
	status = "okay";
};

&usb1 {
	dr_mode = "otg";
};

&usb2 {
	dr_mode = "host";
	pinctrl-names = "default";
	/*pinctrl-0 = <&usb2_pins>;*/
};

&mac {
	status = "okay";
};

&cpsw_emac0 {
	phy_id = <&davinci_mdio>, <10>;
	phy-mode = "rgmii";
	dual_emac_res_vlan = <1>;
};

&cpsw_emac1 {
	phy_id = <&davinci_mdio>, <2>;
	phy-mode = "rgmii";
	dual_emac_res_vlan = <2>;
};

&elm {
	status = "okay";
};

&gpio5 {
        interrupts = <0 33 0x4>;
};

&gpio7 {
	ti,no-reset-on-init;
	ti,no-idle-on-init;
};

&hdmi {
	vdda_hdmi_dac-supply = <&ldo3_reg>;
	tpd12s015: tpd12s015 {
		compatible = "ti,tpd12s015";
		gpios = <&gpio7 12 0>;          /* gpio7_12/sp1_cs2, HPD */
		/* hdmi_ddc = <&i2c2>; */
		hdmi-monitor {
			compatible = "ti,hdmi_panel";
		};
	};
};

&dss {
	pinctrl-names = "default";
	ti,enable-opt-clks-on-reset;
	pinctrl-0 = <&vout1_pins>;
	status = "ok";
	vdda_video-supply = <&ldoln_reg>;
	ports {
		#address-cells = <1>;
		#size-cells = <0>;

		port {
			reg = <0>;

			dpi_out: endpoint {
				data-lines = <24>;
			};
		};
	};
};

&mailbox5 {
	status = "okay";
	mbox_ipu1_legacy: mbox_ipu1_legacy {
		status = "okay";
	};
	mbox_dsp1_legacy: mbox_dsp1_legacy {
		status = "okay";
	};
};

&mailbox6 {
	status = "okay";
	mbox_ipu2_legacy: mbox_ipu2_legacy {
		status = "okay";
	};
};

&mmu0_dsp1 {
	status = "okay";
};

&mmu1_dsp1 {
	status = "okay";
};

&mmu_ipu1 {
	status = "okay";
	ti,late-attach;
	ti,no-idle-on-init;
	ti,no-reset-on-init;
};

&mmu_ipu2 {
	status = "okay";
};

&ipu2 {
	status = "okay";
	memory-region = <&ipu2_cma_pool>;
	mboxes = <&mailbox6 &mbox_ipu2_legacy>;
	timers = <&timer3>;
	watchdog-timers = <&timer4>, <&timer9>;
};

&ipu1 {
	status = "okay";
	memory-region = <&ipu1_cma_pool>;
	mboxes = <&mailbox5 &mbox_ipu1_legacy>;
	timers = <&timer11>;
	watchdog-timers = <&timer7>, <&timer8>;
	ti,late-attach;
	ti,no-idle-on-init;
	ti,no-reset-on-init;
};

&timer7 {
	ti,late-attach;
	ti,no-idle-on-init;
	ti,no-reset-on-init;
};

&timer8 {
	ti,late-attach;
	ti,no-idle-on-init;
	ti,no-reset-on-init;
};

&timer11 {
	ti,late-attach;
	ti,no-idle-on-init;
	ti,no-reset-on-init;
};

&dsp1 {
	status = "okay";
	memory-region = <&dsp1_cma_pool>;
	mboxes = <&mailbox5 &mbox_dsp1_legacy>;
	timers = <&timer5>;
	watchdog-timers = <&timer10>;
};

&atl {
	pinctrl-names = "default";
	pinctrl-0 = <&atl_pins>;

	status = "okay";

	atl1 {
		bws = <DRA7_ATL_WS_MCASP2_FSX>;
		aws = <DRA7_ATL_WS_MCASP6_FSX>;
	};

	atl2 {
		bws = <DRA7_ATL_WS_MCASP2_FSX>;
		aws = <DRA7_ATL_WS_MCASP3_FSX>;
	};
};

&mcasp3 {
	fck_parent = "atl_clkin2_ck";

	status = "okay";

	op-mode = <0>;          /* MCASP_IIS_MODE */
	tdm-slots = <2>;
	/* 4 serializer */
	serial-dir = <  /* 0: INACTIVE, 1: TX, 2: RX */
		1 2 0 0
	>;
};

&mcasp6 {
	#sound-dai-cells = <0>;

	status = "okay";

	op-mode = <0>;  /* MCASP_IIS_MODE */
	tdm-slots = <4>;
	/* 4 serializer */
	serial-dir = <  /* 0: INACTIVE, 1: TX, 2: RX */
		2 1 0 0
	>;
	tx-num-evt = <8>;
	rx-num-evt = <8>;
};

&mcasp7 {
	#sound-dai-cells = <0>;

	status = "okay";

	op-mode = <0>;  /* MCASP_IIS_MODE */
	tdm-slots = <4>;
	/* 4 serializer */
	serial-dir = <  /* 0: INACTIVE, 1: TX, 2: RX */
		2 1 0 0
	>;
	tx-num-evt = <8>;
	rx-num-evt = <8>;
};

&usb2_phy1 {
	phy-supply = <&ldousb_reg>;
};

&usb2_phy2 {
	phy-supply = <&ldousb_reg>;
};
